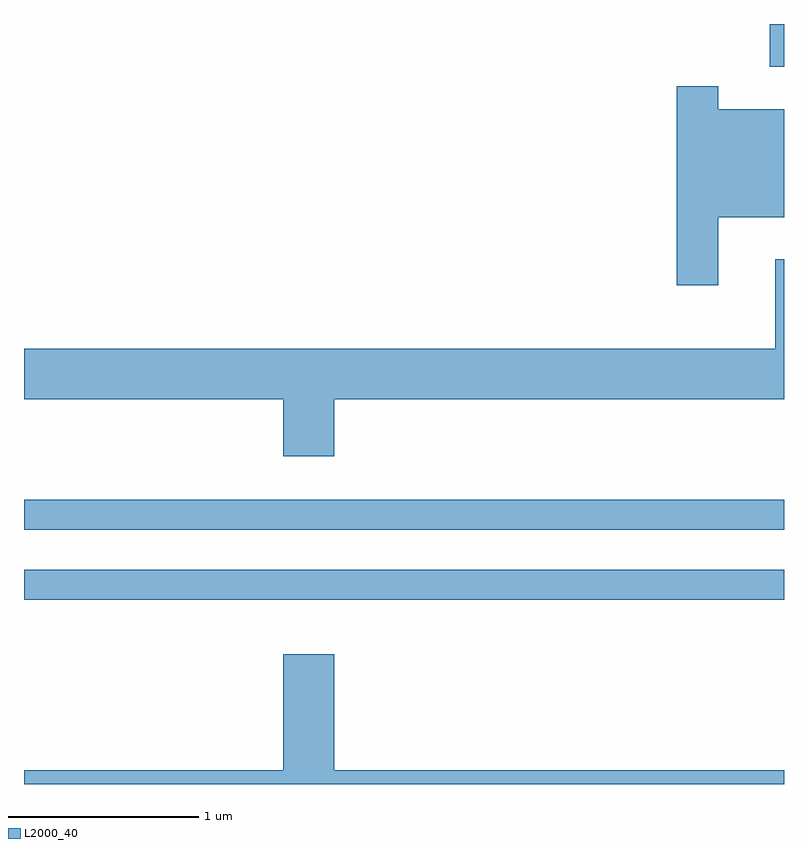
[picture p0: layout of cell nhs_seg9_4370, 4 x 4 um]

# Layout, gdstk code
import gdstk
lib = gdstk.Library(unit=1e-6, precision=1e-09)
def R(c, l, rs):  # rectangles x0, y0, x1, y1
    for r in rs: c.add(gdstk.rectangle(r[:2], r[2:], *l))
def P(c, l, *ps):  # polygons
    for p in ps: c.add(gdstk.Polygon(p, *l))
L2000_40 = (2000, 40)

nhs_seg9_4370 = lib.new_cell('nhs_seg9_4370')
R(nhs_seg9_4370, L2000_40, [(313.611,2017.401,317.611,2017.559), (313.611,2017.771,317.611,2017.929), (317.536,2020.206,317.611,2020.432)])
P(nhs_seg9_4370, L2000_40, [(317.264,2019.416),(317.611,2019.416),(317.611,2019.984),(317.264,2019.984),(317.264,2020.104),(317.046,2020.104),(317.046,2019.056),(317.264,2019.056)],
  [(315.244,2018.456),(317.611,2018.456),(317.611,2019.193),(317.566,2019.193),(317.566,2018.724),(313.611,2018.724),(313.611,2018.456),(314.976,2018.456),(314.976,2018.156),(315.244,2018.156)],
  [(317.611,2016.504),(315.244,2016.504),(315.244,2017.114),(314.976,2017.114),(314.976,2016.504),(313.611,2016.504),(313.611,2016.432),(317.611,2016.432)])

lib.write_gds('nhs_seg9_4370.gds')
